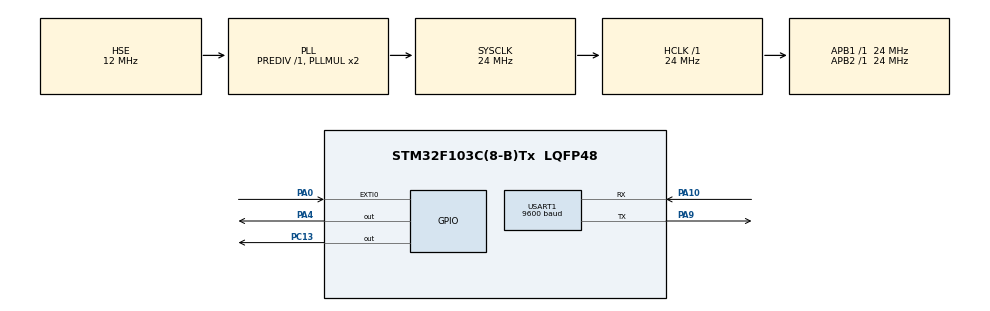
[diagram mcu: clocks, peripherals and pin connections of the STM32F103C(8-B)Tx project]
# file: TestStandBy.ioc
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Mcu.Family=STM32F1
Mcu.Name=STM32F103C(8-B)Tx
Mcu.Package=LQFP48
NVIC.EXTI0_IRQn=true\:1\:0\:true\:false\:true\:true\:true
NVIC.PriorityGroup=NVIC_PRIORITYGROUP_4
NVIC.TIM4_IRQn=true\:2\:0\:true\:false\:true\:true\:true
NVIC.USART1_IRQn=true\:2\:0\:true\:false\:true\:true\:true
PA0-WKUP.Signal=GPXTI0
PA10.Mode=Asynchronous
PA10.Signal=USART1_RX
PA13.Mode=Trace_Asynchronous_SW
PA13.Signal=SYS_JTMS-SWDIO
PA14.Mode=Trace_Asynchronous_SW
PA14.Signal=SYS_JTCK-SWCLK
PA4.Signal=GPIO_Output
PA9.Mode=Asynchronous
PA9.Signal=USART1_TX
PB3.Mode=Trace_Asynchronous_SW
PB3.Signal=SYS_JTDO-TRACESWO
PC13-TAMPER-RTC.Signal=GPIO_Output
PD0-OSC_IN.Mode=HSE-External-Oscillator
PD0-OSC_IN.Signal=RCC_OSC_IN
PD1-OSC_OUT.Mode=HSE-External-Oscillator
PD1-OSC_OUT.Signal=RCC_OSC_OUT
ProjectManager.HeapSize=0x200
ProjectManager.StackSize=0x400
ProjectManager.TargetToolchain=MDK-ARM V5
RCC.AHBFreq_Value=24000000
RCC.APB1Freq_Value=24000000
RCC.APB1TimFreq_Value=24000000
RCC.APB2Freq_Value=24000000
RCC.APB2TimFreq_Value=24000000
RCC.HCLKFreq_Value=24000000
RCC.HSE_VALUE=12000000
RCC.PLLSourceVirtual=RCC_PLLSOURCE_HSE
RCC.SYSCLKFreq_VALUE=24000000
RCC.SYSCLKSource=RCC_SYSCLKSOURCE_PLLCLK
RCC.USBFreq_Value=24000000
TIM4.Period=255
USART1.BaudRate=9600
USART1.VirtualMode=VM_ASYNC
VP_TIM4_VS_ClockSourceINT.Mode=Internal
board=custom

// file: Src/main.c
/* USER CODE BEGIN Header */
/**
  ******************************************************************************
  * @file           : main.c
  * @brief          : Main program body
  ******************************************************************************
  * @attention
  *
  * <h2><center>&copy; Copyright (c) 2019 STMicroelectronics.
  * All rights reserved.</center></h2>
  *
  * This software component is licensed by ST under BSD 3-Clause license,
  * the "License"; You may not use this file except in compliance with the
  * License. You may obtain a copy of the License at:
  *                        opensource.org/licenses/BSD-3-Clause
  *
  ******************************************************************************
  */
/* USER CODE END Header */

#include "main.h"

/* USER CODE BEGIN Includes */
#ifdef __GNUC__
/* With GCC/RAISONANCE, small printf (option LD Linker->Libraries->Small printf
   set to 'Yes') calls __io_putchar() */
#define PUTCHAR_PROTOTYPE int __io_putchar(int ch)
#else
#define PUTCHAR_PROTOTYPE int fputc(int ch, FILE *f)
#endif /* __GNUC__ */
/* USER CODE END Includes */

TIM_HandleTypeDef htim4;

UART_HandleTypeDef huart1;

void SystemClock_Config(void);
static void MX_GPIO_Init(void);
static void MX_USART1_UART_Init(void);
static void MX_TIM4_Init(void);
/* USER CODE BEGIN PFP */

uint8_t offFlag=0;
 uint8_t offFlag_2=0;
uint32_t curTime=0;
/* USER CODE END PFP */

/* USER CODE BEGIN 0 */
PUTCHAR_PROTOTYPE
{
  /* Place your implementation of fputc here */
  /* e.g. write a character to the USART1 and Loop until the end of transmission */
  HAL_UART_Transmit(&huart1, (uint8_t *)&ch, 1, 0xFFFF);

  return ch;
}
/* USER CODE END 0 */

int main(void)
{

  /* MCU Configuration--------------------------------------------------------*/

  /* Reset of all peripherals, Initializes the Flash interface and the Systick. */
  HAL_Init();

  /* Configure the system clock */
  SystemClock_Config();

  /* Initialize all configured peripherals */
  MX_GPIO_Init();
  MX_USART1_UART_Init();
  MX_TIM4_Init();
  /* USER CODE BEGIN 2 */

printf("Hello");

//HAL_GPIO_WritePin(GPIOA,GPIO_PIN_4,GPIO_PIN_SET);
//	HAL_Delay(3000);
//HAL_GPIO_WritePin(GPIOA,GPIO_PIN_4,GPIO_PIN_RESET);
//	HAL_Delay(3000);
//HAL_GPIO_WritePin(GPIOA,GPIO_PIN_4,GPIO_PIN_SET);

		 HAL_NVIC_DisableIRQ(EXTI0_IRQn);
			offFlag=1;
	curTime=HAL_GetTick();
			if (__HAL_PWR_GET_FLAG(PWR_FLAG_SB) == SET)
{
printf("Wakeup");
	//HAL_PWR_EnableBkUpAccess();
__HAL_PWR_CLEAR_FLAG(PWR_FLAG_SB);
	offFlag=1;
	curTime=HAL_GetTick();

}

  /* USER CODE END 2 */

  /* Infinite loop */
  while (1)
  {

  }
}

void SystemClock_Config(void)
{
  RCC_OscInitTypeDef RCC_OscInitStruct = {0};
  RCC_ClkInitTypeDef RCC_ClkInitStruct = {0};

  /** Initializes the CPU, AHB and APB busses clocks
  */
  RCC_OscInitStruct.OscillatorType = RCC_OSCILLATORTYPE_HSE;
  RCC_OscInitStruct.HSEState = RCC_HSE_ON;
  RCC_OscInitStruct.HSEPredivValue = RCC_HSE_PREDIV_DIV1;
  RCC_OscInitStruct.HSIState = RCC_HSI_ON;
  RCC_OscInitStruct.PLL.PLLState = RCC_PLL_ON;
  RCC_OscInitStruct.PLL.PLLSource = RCC_PLLSOURCE_HSE;
  RCC_OscInitStruct.PLL.PLLMUL = RCC_PLL_MUL2;
  if (HAL_RCC_OscConfig(&RCC_OscInitStruct) != HAL_OK)
  {
    Error_Handler();
  }
  /** Initializes the CPU, AHB and APB busses clocks
  */
  RCC_ClkInitStruct.ClockType = RCC_CLOCKTYPE_HCLK|RCC_CLOCKTYPE_SYSCLK
                              |RCC_CLOCKTYPE_PCLK1|RCC_CLOCKTYPE_PCLK2;
  RCC_ClkInitStruct.SYSCLKSource = RCC_SYSCLKSOURCE_PLLCLK;
  RCC_ClkInitStruct.AHBCLKDivider = RCC_SYSCLK_DIV1;
  RCC_ClkInitStruct.APB1CLKDivider = RCC_HCLK_DIV1;
  RCC_ClkInitStruct.APB2CLKDivider = RCC_HCLK_DIV1;

  if (HAL_RCC_ClockConfig(&RCC_ClkInitStruct, FLASH_LATENCY_0) != HAL_OK)
  {
    Error_Handler();
  }
}

static void MX_TIM4_Init(void)
{

  TIM_ClockConfigTypeDef sClockSourceConfig = {0};
  TIM_MasterConfigTypeDef sMasterConfig = {0};

  htim4.Instance = TIM4;
  htim4.Init.Prescaler = 0;
  htim4.Init.CounterMode = TIM_COUNTERMODE_UP;
  htim4.Init.Period = 255;
  htim4.Init.ClockDivision = TIM_CLOCKDIVISION_DIV1;
  htim4.Init.AutoReloadPreload = TIM_AUTORELOAD_PRELOAD_DISABLE;
  if (HAL_TIM_Base_Init(&htim4) != HAL_OK)
  {
    Error_Handler();
  }
  sClockSourceConfig.ClockSource = TIM_CLOCKSOURCE_INTERNAL;
  if (HAL_TIM_ConfigClockSource(&htim4, &sClockSourceConfig) != HAL_OK)
  {
    Error_Handler();
  }
  sMasterConfig.MasterOutputTrigger = TIM_TRGO_RESET;
  sMasterConfig.MasterSlaveMode = TIM_MASTERSLAVEMODE_DISABLE;
  if (HAL_TIMEx_MasterConfigSynchronization(&htim4, &sMasterConfig) != HAL_OK)
  {
    Error_Handler();
  }

}

static void MX_USART1_UART_Init(void)
{

  huart1.Instance = USART1;
  huart1.Init.BaudRate = 9600;
  huart1.Init.WordLength = UART_WORDLENGTH_8B;
  huart1.Init.StopBits = UART_STOPBITS_1;
  huart1.Init.Parity = UART_PARITY_NONE;
  huart1.Init.Mode = UART_MODE_TX_RX;
  huart1.Init.HwFlowCtl = UART_HWCONTROL_NONE;
  huart1.Init.OverSampling = UART_OVERSAMPLING_16;
  if (HAL_UART_Init(&huart1) != HAL_OK)
  {
    Error_Handler();
  }

}

static void MX_GPIO_Init(void)
{
  GPIO_InitTypeDef GPIO_InitStruct = {0};

  /* GPIO Ports Clock Enable */
  __HAL_RCC_GPIOC_CLK_ENABLE();
  __HAL_RCC_GPIOD_CLK_ENABLE();
  __HAL_RCC_GPIOA_CLK_ENABLE();
  __HAL_RCC_GPIOB_CLK_ENABLE();

  /*Configure GPIO pin Output Level */
  HAL_GPIO_WritePin(GPIOC, GPIO_PIN_13, GPIO_PIN_RESET);

  /*Configure GPIO pin Output Level */
  HAL_GPIO_WritePin(GPIOA, GPIO_PIN_4, GPIO_PIN_RESET);

  /*Configure GPIO pin : PC13 */
  GPIO_InitStruct.Pin = GPIO_PIN_13;
  GPIO_InitStruct.Mode = GPIO_MODE_OUTPUT_PP;
  GPIO_InitStruct.Pull = GPIO_NOPULL;
  GPIO_InitStruct.Speed = GPIO_SPEED_FREQ_LOW;
  HAL_GPIO_Init(GPIOC, &GPIO_InitStruct);

  /*Configure GPIO pin : PA0 */
  GPIO_InitStruct.Pin = GPIO_PIN_0;
  GPIO_InitStruct.Mode = GPIO_MODE_IT_RISING;
  GPIO_InitStruct.Pull = GPIO_NOPULL;
  HAL_GPIO_Init(GPIOA, &GPIO_InitStruct);

  /*Configure GPIO pin : PA4 */
  GPIO_InitStruct.Pin = GPIO_PIN_4;
  GPIO_InitStruct.Mode = GPIO_MODE_OUTPUT_PP;
  GPIO_InitStruct.Pull = GPIO_NOPULL;
  GPIO_InitStruct.Speed = GPIO_SPEED_FREQ_LOW;
  HAL_GPIO_Init(GPIOA, &GPIO_InitStruct);

  /* EXTI interrupt init*/
  HAL_NVIC_SetPriority(EXTI0_IRQn, 1, 0);
  HAL_NVIC_EnableIRQ(EXTI0_IRQn);

}

void Error_Handler(void)
{
}

/************************ (C) COPYRIGHT STMicroelectronics *****END OF FILE****/
